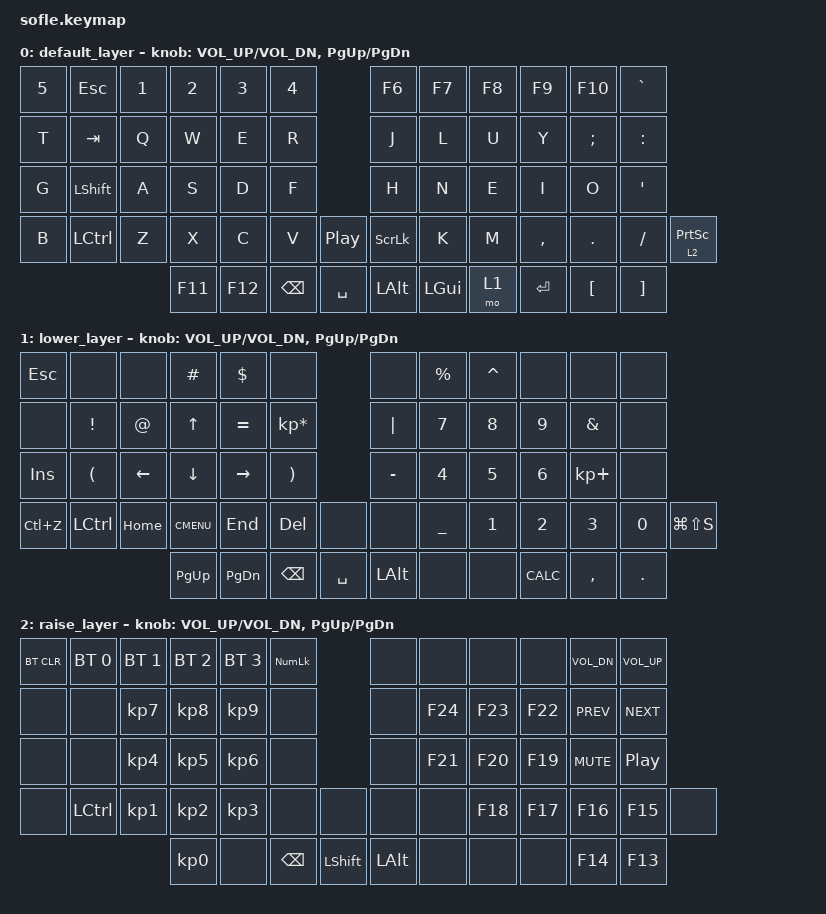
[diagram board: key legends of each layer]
/*
 * Copyright (c) 2020 The ZMK Contributors
 *
 * SPDX-License-Identifier: MIT
 */

#include <behaviors.dtsi>
#include <dt-bindings/zmk/keys.h>
#include <dt-bindings/zmk/bt.h>

/ {
    keymap {
        compatible = "zmk,keymap";

        default_layer {
// ----------------------------------------------------------                 --------------------------------------------------
// |  ESC  |  F1 |  F2 |  F3  |  F4  |  F5  |                                             |  F6  |  F7   |  F8   |  F9  |   F10 |   `   |
// |  TAB  |  Q  |  W  |  F   |  P   |  G   |                                             |  J   |  L    |  U    |  Y   |   ;   |   /   |
// |  CLCK |  A  |  R  |  S   |  T   |  D   |                                             |  H   |  N    |  E    |  I   |   O   |   '   |
// | SHIFT |  Z  |  X  |  C   |  V   |  B   |  MUTE  |                              |     |  K   |  M    |  ,    |  .   |   /   | (mo 2)PSCRN |
//               | F11 | F12  | BKSPC |SPACE|  ALT   |                              | GUI |  MO1 | ENTER |  [    |  ]   |
            bindings = <
 &kp N5   &kp ESC    &kp N1 &kp N2   &kp N3   &kp N4                                    &kp F6  &kp F7    &kp F8    &kp F9   &kp F10   &kp GRAVE
 &kp T    &kp TAB    &kp Q  &kp W    &kp E    &kp R                                     &kp J   &kp L     &kp U     &kp Y    &kp SEMI  &kp COLON
 &kp G    &kp LSHFT  &kp A  &kp S    &kp D    &kp F                                     &kp H   &kp N     &kp E     &kp I    &kp O     &kp SQT
 &kp B    &kp LCTRL  &kp Z  &kp X    &kp C    &kp V                         &kp C_PP    &kp SLCK  &kp K   &kp M     &kp COMMA &kp DOT  &kp FSLH  &lt 2 PSCRN
                           &kp F11  &kp F12  &kp BSPC  &kp SPACE &kp LALT    &kp LGUI  &mo 1   &kp RET   &kp LBKT  &kp RBKT
            >;

            sensor-bindings = <&inc_dec_kp C_VOL_UP C_VOL_DN &inc_dec_kp PG_UP PG_DN>;
        };

        lower_layer {
// TODO: Some binds are waiting for shifted keycode support.
// -----------------------------------------------------------------------------------------------------------------------------
// |  ESC  |     |     |  #   |   $  |      |                                                 |      |   %   |  ^    |      |       |       |
// |       |  !  |  @  |  UP  |   =  |   *  |                                                 |  |   |   7   |   8   |   9  |   &   |       |
// |       |  (  |  <- | DOWN |  ->  |   )  |                                                 |  -   |   6   |   5   |  6   |   +   |       |
// |       |LCTRL|HOME | MENU |  END |      |                                      |  |       |  _   |   1   |   2   |  3   |   0   |       |
//               |     |      |      |      |                                      |  |       |      |       |   ,   |   .  |
            bindings = <
&kp ESC   &none     &none     &kp HASH    &kp DLLR  &none                                    &none     &kp PRCNT      &kp CARET &none   &none       &none
&none     &kp EXCL  &kp AT    &kp UP      &kp EQUAL &kp KP_MULTIPLY                          &kp PIPE  &kp N7         &kp N8    &kp N9  &kp AMPS    &none
&kp INS   &kp LPAR  &kp LEFT  &kp DOWN    &kp RIGHT &kp RPAR                                 &kp MINUS &kp N4         &kp N5    &kp N6  &kp KP_PLUS &none
&kp LC(Z) &kp LCTRL &kp HOME  &kp K_CMENU &kp END   &kp DEL          &none            &none  &kp UNDER &kp N1         &kp N2    &kp N3  &kp N0      &kp LG(LS(S))
                    &kp PG_UP &kp PG_DN   &kp BSPC  &kp SPACE &kp LALT         &none  &none     &kp K_CALC     &kp COMMA &kp DOT
            >;

            sensor-bindings = <&inc_dec_kp C_VOL_UP C_VOL_DN &inc_dec_kp PG_UP PG_DN>;
        };

        raise_layer {
// ----------------------------------------------------                 --------------------------------------------------------
// |RESET|      |      |       |       |KP_NUM|                                 |      |      |       |       |  C_VOL_DN  |  C_VOL_UP |
// |     |      |  7   |   8   |   9   |      |                                 |      |  F24 |  F23  |  F22  |  K_PREV    |  K_NEXT   |
// |     |      |  4   |   5   |   6   |      |                                 |      |  F21 |  F20  |  F19  |  K_MUTE    |  PAUSE    |
// |     |      |  1   |   2   |   3   |      |      |                   |      |      |  F18 |  F17  |  F16  |  F15       |           |
//              |  0   |       |       |      |      |                   |      |      |      |  F14  |  F13  |
            bindings = <
&bt BT_CLR  &bt BT_SEL 0 &bt BT_SEL 1 &bt BT_SEL 2 &bt BT_SEL 3 &kp KP_NUM                           &none  &none    &none     &none      &kp C_VOL_DN  &kp C_VOL_UP
&none        &none       &kp KP_N7    &kp KP_N8    &kp KP_N9    &none                                &none  &kp F24  &kp F23   &kp F22    &kp C_PREV    &kp C_NEXT
&none        &none       &kp KP_N4    &kp KP_N5    &kp KP_N6    &none                                &none  &kp F21  &kp F20   &kp F19    &kp C_MUTE    &kp C_PP
&none        &kp LCTRL   &kp KP_N1    &kp KP_N2    &kp KP_N3    &none      &none              &none  &none  &kp F18  &kp F17   &kp F16    &kp F15       &none
                         &kp KP_N0    &none        &kp BSPC     &kp LSHIFT &kp LALT           &none  &none  &none    &kp F14   &kp F13
            >;

            sensor-bindings = <&inc_dec_kp C_VOL_UP C_VOL_DN &inc_dec_kp PG_UP PG_DN>;
        };
    };
};
